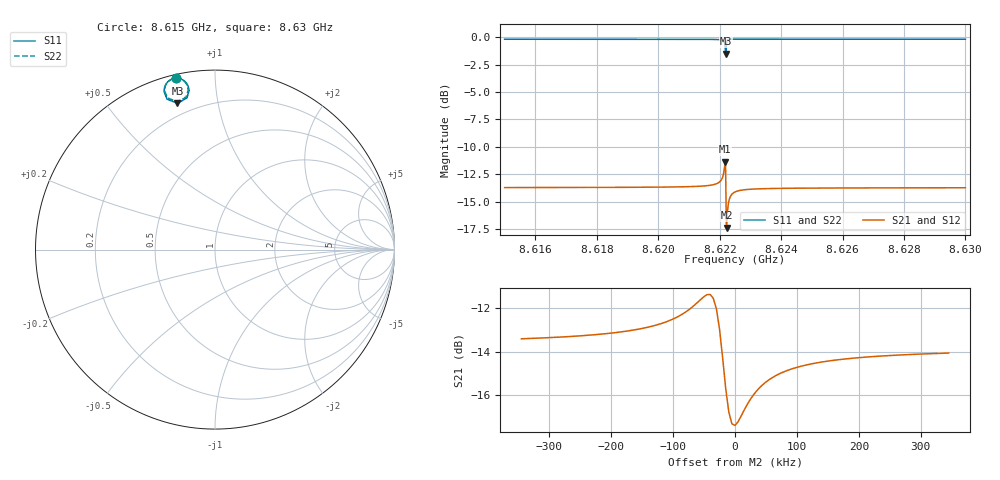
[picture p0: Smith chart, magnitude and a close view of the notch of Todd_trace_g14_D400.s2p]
! Sonnet Data File
! From: emgraph Version : 16.52
! From Project: 171114transmon_trace_brg
! Data is De-embedded
! Data File Written: 11/14/2017 17:50:13
!< HDATE 11/14/2017 14:11:39
!< MDATE 11/14/2017 14:11:39
!< PARAMS
!< Lj = 15.24
!< Gap = 14.0
!< Width = 10.0
!< Airgap = 6.0
!< Pwidth = 2000.0
!< Dist = 400.0
!< END PARAMS
# GHZ S MA R 34.87000
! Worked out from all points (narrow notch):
!   3597 points, 8.615 GHz to 8.63 GHz, reference 34.87 ohm
!   highest |S21| = -11.36 dB at 8.62218 GHz (marker M1); lowest = -17.4 dB at 8.62223 GHz (marker M2)
!   notch at M2: 3.6 dB deep, 58 kHz wide at half that depth
!   lowest |S11| = -1.5 dB at 8.6222 GHz (marker M3), VSWR 11.58, Z = 4.8 + j26.7 ohm
!   |S11| at or under -10 dB: nowhere
!   |S22| runs from -1.4 to -0.2 dB; largest |S21 - S12| = 3e-11
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8.615  0.9786 102.8  0.2058 12.8  0.2058 12.8  0.9786 102.8
!< P1 F=8.615 Eeff=(5.13377404 -5.6313e-5) Z0=(34.6595714 -9.1612e-5) R=0.0 C=0.0
!< P2 F=8.615 Eeff=(5.13377404 -5.6313e-5) Z0=(34.6595714 -9.1612e-5) R=0.0 C=0.0
8.6175  0.9785 102.7  0.2061 12.7  0.2061 12.7  0.9785 102.7
8.62  0.9784 102.7  0.2068 12.7  0.2068 12.7  0.9784 102.7
8.621215  0.978 102.6  0.2083 12.6  0.2083 12.6  0.978 102.6
8.62176  0.9771 102.4  0.2117 12.3  0.2117 12.3  0.9771 102.4
8.621995  0.9747 102.0  0.2184 11.7  0.2184 11.7  0.9748 102.0
8.62208  0.9706 101.5  0.2267 10.7  0.2267 10.7  0.9708 101.5
8.622115  0.9656 101.0  0.2343 9.5  0.2343 9.5  0.966 101.1
8.62214  0.9573 100.4  0.2438 7.6  0.2438 7.6  0.958 100.6
8.622185  0.8802 99.6  0.2705 -8.3  0.2705 -8.3  0.8852 99.8
8.6222  0.841 104.4  0.2253 -23.7  0.2253 -23.7  0.8493 104.4
8.622225  0.9399 107.5  0.1351 -4.6  0.1351 -4.6  0.943 107.3
8.622265  0.9752 105.2  0.1652 11.4  0.1652 11.4  0.9758 105.0
8.622285  0.978 104.6  0.174 12.4  0.174 12.4  0.9784 104.5
8.622295  0.9788 104.5  0.1772 12.7  0.1772 12.7  0.9791 104.3
8.62232  0.9797 104.1  0.183 13.0  0.183 13.0  0.9799 104.0
8.62237  0.9801 103.7  0.1896 13.2  0.1896 13.2  0.9802 103.6
8.6225  0.9799 103.3  0.1966 13.1  0.1966 13.1  0.98 103.2
8.623115  0.9792 102.9  0.2027 12.9  0.2027 12.9  0.9792 102.9
8.625  0.9788 102.8  0.2047 12.8  0.2047 12.8  0.9788 102.8
8.6275  0.9787 102.7  0.2052 12.7  0.2052 12.7  0.9787 102.7
8.63  0.9787 102.7  0.2055 12.7  0.2055 12.7  0.9787 102.7
